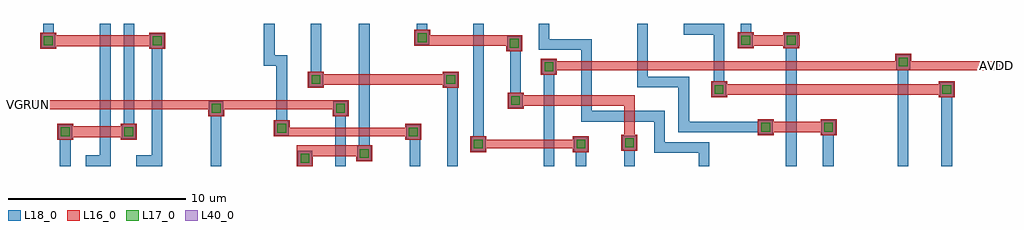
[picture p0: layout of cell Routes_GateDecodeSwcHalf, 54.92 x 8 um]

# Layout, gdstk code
import gdstk
lib = gdstk.Library(unit=1e-6, precision=1e-09)
def R(c, l, rs):  # rectangles x0, y0, x1, y1
    for r in rs: c.add(gdstk.rectangle(r[:2], r[2:], *l))
L16_0 = (16, 0)
L17_0 = (17, 0)
L18_0 = (18, 0)
L40_0 = (40, 0)

m2_m1_cdns_760358723070 = lib.new_cell('M2_M1_CDNS_760358723070')
R(m2_m1_cdns_760358723070, L16_0, [(-0.45,-0.45,0.45,0.45)])
R(m2_m1_cdns_760358723070, L17_0, [(-0.25,-0.25,0.25,0.25)])
R(m2_m1_cdns_760358723070, L18_0, [(-0.4,-0.4,0.4,0.4)])

routes_gatedecodeswchalf = lib.new_cell('Routes_GateDecodeSwcHalf')
R(routes_gatedecodeswchalf, L18_0, [(15.41,0,16.21,0.05), (15.41,0,16.21,0.05)])
R(routes_gatedecodeswchalf, L40_0, [(0,3.2,0.43,3.7), (54.55,5.4,54.92,5.9)])
routes_gatedecodeswchalf.add(gdstk.FlexPath([(54.92,5.65),(29.29,5.65)], 0.5, ends="flush", simple_path=True, layer=16, datatype=0))  # L16_0
routes_gatedecodeswchalf.add(gdstk.FlexPath([(0,3.45),(17.94,3.45)], 0.5, ends="flush", simple_path=True, layer=16, datatype=0))  # L16_0
routes_gatedecodeswchalf.add(gdstk.FlexPath([(41.74,2.19),(45.25,2.19)], 0.6, ends="flush", simple_path=True, layer=16, datatype=0))  # L16_0
routes_gatedecodeswchalf.add(gdstk.FlexPath([(34.07,3.69),(27.66,3.69)], 0.6, ends=(0.3, 0), simple_path=True, layer=16, datatype=0))  # L16_0
routes_gatedecodeswchalf.add(gdstk.FlexPath([(19.15,0.86),(15.36,0.86)], 0.6, ends="flush", simple_path=True, layer=16, datatype=0))  # L16_0
routes_gatedecodeswchalf.add(gdstk.FlexPath([(16.43,4.87),(23.97,4.87)], 0.6, ends="flush", simple_path=True, layer=16, datatype=0))  # L16_0
routes_gatedecodeswchalf.add(gdstk.FlexPath([(1.37,7.05),(7.49,7.05)], 0.6, ends="flush", simple_path=True, layer=16, datatype=0))  # L16_0
routes_gatedecodeswchalf.add(gdstk.FlexPath([(5.9,1.93),(2.02,1.93)], 0.6, ends="flush", simple_path=True, layer=16, datatype=0))  # L16_0
routes_gatedecodeswchalf.add(gdstk.FlexPath([(14.5,1.92),(22.16,1.92)], 0.5, ends=(0.45, 0), simple_path=True, layer=16, datatype=0))  # L16_0
routes_gatedecodeswchalf.add(gdstk.FlexPath([(14.5,2.12),(14.5,1.92)], 0.9, ends=(0, 0.25), simple_path=True, layer=16, datatype=0))  # L16_0
routes_gatedecodeswchalf.add(gdstk.FlexPath([(22.4,7.06),(27.58,7.06)], 0.6, ends="flush", simple_path=True, layer=16, datatype=0))  # L16_0
routes_gatedecodeswchalf.add(gdstk.FlexPath([(25.57,1.24),(31.34,1.24)], 0.5, ends="flush", simple_path=True, layer=16, datatype=0))  # L16_0
routes_gatedecodeswchalf.add(gdstk.FlexPath([(40.62,7.07),(43.64,7.07)], 0.6, ends="flush", simple_path=True, layer=16, datatype=0))  # L16_0
routes_gatedecodeswchalf.add(gdstk.FlexPath([(34.07,1.31),(34.07,3.69)], 0.6, ends=(0, 0.3), simple_path=True, layer=16, datatype=0))  # L16_0
routes_gatedecodeswchalf.add(gdstk.FlexPath([(38.9,4.31),(51.93,4.31)], 0.6, ends="flush", simple_path=True, layer=16, datatype=0))  # L16_0
routes_gatedecodeswchalf.add(gdstk.FlexPath([(17.81,0),(17.81,3.45)], 0.6, ends="flush", simple_path=True, layer=18, datatype=0))  # L18_0
routes_gatedecodeswchalf.add(gdstk.FlexPath([(10.81,0),(10.81,3.45)], 0.6, ends="flush", simple_path=True, layer=18, datatype=0))  # L18_0
routes_gatedecodeswchalf.add(gdstk.FlexPath([(29.54,5.84),(29.54,0)], 0.6, ends="flush", simple_path=True, layer=18, datatype=0))  # L18_0
routes_gatedecodeswchalf.add(gdstk.FlexPath([(49.46,0),(49.46,5.83)], 0.6, ends="flush", simple_path=True, layer=18, datatype=0))  # L18_0
routes_gatedecodeswchalf.add(gdstk.FlexPath([(14.5,5.94),(14.5,2.11)], 0.6, ends=(0.3, 0), simple_path=True, layer=18, datatype=0))  # L18_0
routes_gatedecodeswchalf.add(gdstk.FlexPath([(13.8,5.94),(14.5,5.94)], 0.6, ends="extended", simple_path=True, layer=18, datatype=0))  # L18_0
routes_gatedecodeswchalf.add(gdstk.FlexPath([(16.43,8),(16.43,4.96)], 0.6, ends="flush", simple_path=True, layer=18, datatype=0))  # L18_0
routes_gatedecodeswchalf.add(gdstk.FlexPath([(19.15,8),(19.15,0.56)], 0.6, ends="flush", simple_path=True, layer=18, datatype=0))  # L18_0
routes_gatedecodeswchalf.add(gdstk.FlexPath([(22.01,1.92),(22.01,0)], 0.6, ends="flush", simple_path=True, layer=18, datatype=0))  # L18_0
routes_gatedecodeswchalf.add(gdstk.FlexPath([(24.11,5.26),(24.11,0)], 0.6, ends="flush", simple_path=True, layer=18, datatype=0))  # L18_0
routes_gatedecodeswchalf.add(gdstk.FlexPath([(45.26,2.19),(45.26,0)], 0.6, ends="flush", simple_path=True, layer=18, datatype=0))  # L18_0
routes_gatedecodeswchalf.add(gdstk.FlexPath([(37.12,2.19),(41.74,2.19)], 0.6, ends=(0.3, 0), simple_path=True, layer=18, datatype=0))  # L18_0
routes_gatedecodeswchalf.add(gdstk.FlexPath([(37.12,4.74),(37.12,2.19)], 0.6, ends="extended", simple_path=True, layer=18, datatype=0))  # L18_0
routes_gatedecodeswchalf.add(gdstk.FlexPath([(29.27,8),(29.27,6.84)], 0.6, ends=(0, 0.3), simple_path=True, layer=18, datatype=0))  # L18_0
routes_gatedecodeswchalf.add(gdstk.FlexPath([(35.76,2.8),(35.76,1.04)], 0.6, ends="extended", simple_path=True, layer=18, datatype=0))  # L18_0
routes_gatedecodeswchalf.add(gdstk.FlexPath([(4.57,8),(4.57,0.3)], 0.6, ends=(0, 0.3), simple_path=True, layer=18, datatype=0))  # L18_0
routes_gatedecodeswchalf.add(gdstk.FlexPath([(5.9,8),(5.9,2.33)], 0.6, ends="flush", simple_path=True, layer=18, datatype=0))  # L18_0
routes_gatedecodeswchalf.add(gdstk.FlexPath([(2.32,2.33),(2.32,0)], 0.6, ends="flush", simple_path=True, layer=18, datatype=0))  # L18_0
routes_gatedecodeswchalf.add(gdstk.FlexPath([(34.07,0),(34.07,1.31)], 0.6, ends="flush", simple_path=True, layer=18, datatype=0))  # L18_0
routes_gatedecodeswchalf.add(gdstk.FlexPath([(4.57,0.3),(3.47,0.3)], 0.6, ends=(0.3, 0), simple_path=True, layer=18, datatype=0))  # L18_0
routes_gatedecodeswchalf.add(gdstk.FlexPath([(13.8,8),(13.8,5.94)], 0.6, ends=(0, 0.3), simple_path=True, layer=18, datatype=0))  # L18_0
routes_gatedecodeswchalf.add(gdstk.FlexPath([(34.8,8),(34.8,4.74)], 0.6, ends=(0, 0.3), simple_path=True, layer=18, datatype=0))  # L18_0
routes_gatedecodeswchalf.add(gdstk.FlexPath([(34.8,4.74),(37.12,4.74)], 0.6, ends="extended", simple_path=True, layer=18, datatype=0))  # L18_0
routes_gatedecodeswchalf.add(gdstk.FlexPath([(1.37,8),(1.37,6.66)], 0.6, ends="flush", simple_path=True, layer=18, datatype=0))  # L18_0
routes_gatedecodeswchalf.add(gdstk.FlexPath([(7.49,7.05),(7.49,0.3)], 0.6, ends=(0, 0.3), simple_path=True, layer=18, datatype=0))  # L18_0
routes_gatedecodeswchalf.add(gdstk.FlexPath([(7.49,0.3),(6.31,0.3)], 0.6, ends=(0.3, 0), simple_path=True, layer=18, datatype=0))  # L18_0
routes_gatedecodeswchalf.add(gdstk.FlexPath([(22.4,8),(22.4,6.82)], 0.6, ends="flush", simple_path=True, layer=18, datatype=0))  # L18_0
routes_gatedecodeswchalf.add(gdstk.FlexPath([(25.57,8),(25.57,1.24)], 0.6, ends="flush", simple_path=True, layer=18, datatype=0))  # L18_0
routes_gatedecodeswchalf.add(gdstk.FlexPath([(31.34,1.24),(31.34,0)], 0.6, ends="flush", simple_path=True, layer=18, datatype=0))  # L18_0
routes_gatedecodeswchalf.add(gdstk.FlexPath([(29.27,6.84),(31.65,6.84)], 0.6, ends="extended", simple_path=True, layer=18, datatype=0))  # L18_0
routes_gatedecodeswchalf.add(gdstk.FlexPath([(35.76,1.04),(38.26,1.04)], 0.6, ends="extended", simple_path=True, layer=18, datatype=0))  # L18_0
routes_gatedecodeswchalf.add(gdstk.FlexPath([(40.62,8),(40.62,7.07)], 0.6, ends="flush", simple_path=True, layer=18, datatype=0))  # L18_0
routes_gatedecodeswchalf.add(gdstk.FlexPath([(43.17,7.07),(43.17,0)], 0.6, ends="flush", simple_path=True, layer=18, datatype=0))  # L18_0
routes_gatedecodeswchalf.add(gdstk.FlexPath([(37.13,7.7),(39.11,7.7)], 0.6, ends=(0, 0.3), simple_path=True, layer=18, datatype=0))  # L18_0
routes_gatedecodeswchalf.add(gdstk.FlexPath([(27.66,6.91),(27.58,6.91)], 0.6, ends=(0.3, 0), simple_path=True, layer=18, datatype=0))  # L18_0
routes_gatedecodeswchalf.add(gdstk.FlexPath([(27.66,3.69),(27.66,6.91)], 0.6, ends=(0, 0.3), simple_path=True, layer=18, datatype=0))  # L18_0
routes_gatedecodeswchalf.add(gdstk.FlexPath([(31.65,6.84),(31.65,2.8)], 0.6, ends="extended", simple_path=True, layer=18, datatype=0))  # L18_0
routes_gatedecodeswchalf.add(gdstk.FlexPath([(31.65,2.8),(35.76,2.8)], 0.6, ends="extended", simple_path=True, layer=18, datatype=0))  # L18_0
routes_gatedecodeswchalf.add(gdstk.FlexPath([(38.26,1.04),(38.26,0)], 0.6, ends=(0.3, 0), simple_path=True, layer=18, datatype=0))  # L18_0
routes_gatedecodeswchalf.add(gdstk.FlexPath([(39.11,7.7),(39.11,4.36)], 0.6, ends=(0.3, 0), simple_path=True, layer=18, datatype=0))  # L18_0
routes_gatedecodeswchalf.add(gdstk.FlexPath([(51.92,4.5),(51.92,0)], 0.6, ends="flush", simple_path=True, layer=18, datatype=0))  # L18_0
routes_gatedecodeswchalf.add(gdstk.Reference(m2_m1_cdns_760358723070, (51.93,4.31)))
routes_gatedecodeswchalf.add(gdstk.Reference(m2_m1_cdns_760358723070, (39.11,4.31)))
routes_gatedecodeswchalf.add(gdstk.Reference(m2_m1_cdns_760358723070, (21.91,1.92)))
routes_gatedecodeswchalf.add(gdstk.Reference(m2_m1_cdns_760358723070, (49.47,5.86)))
routes_gatedecodeswchalf.add(gdstk.Reference(m2_m1_cdns_760358723070, (43.17,7.07)))
routes_gatedecodeswchalf.add(gdstk.Reference(m2_m1_cdns_760358723070, (40.62,7.07)))
routes_gatedecodeswchalf.add(gdstk.Reference(m2_m1_cdns_760358723070, (41.74,2.19)))
routes_gatedecodeswchalf.add(gdstk.Reference(m2_m1_cdns_760358723070, (31.34,1.24)))
routes_gatedecodeswchalf.add(gdstk.Reference(m2_m1_cdns_760358723070, (25.57,1.24)))
routes_gatedecodeswchalf.add(gdstk.Reference(m2_m1_cdns_760358723070, (29.54,5.59)))
routes_gatedecodeswchalf.add(gdstk.Reference(m2_m1_cdns_760358723070, (22.4,7.22)))
routes_gatedecodeswchalf.add(gdstk.Reference(m2_m1_cdns_760358723070, (19.15,0.71)))
routes_gatedecodeswchalf.add(gdstk.Reference(m2_m1_cdns_760358723070, (16.43,4.87)))
routes_gatedecodeswchalf.add(gdstk.Reference(m2_m1_cdns_760358723070, (15.81,0.45)))
routes_gatedecodeswchalf.add(gdstk.Reference(m2_m1_cdns_760358723070, (14.5,2.12)))
routes_gatedecodeswchalf.add(gdstk.Reference(m2_m1_cdns_760358723070, (45.27,2.19)))
routes_gatedecodeswchalf.add(gdstk.Reference(m2_m1_cdns_760358723070, (17.81,3.25)))
routes_gatedecodeswchalf.add(gdstk.Reference(m2_m1_cdns_760358723070, (24.01,4.87)))
routes_gatedecodeswchalf.add(gdstk.Reference(m2_m1_cdns_760358723070, (5.9,1.93)))
routes_gatedecodeswchalf.add(gdstk.Reference(m2_m1_cdns_760358723070, (7.49,7.05)))
routes_gatedecodeswchalf.add(gdstk.Reference(m2_m1_cdns_760358723070, (10.81,3.25)))
routes_gatedecodeswchalf.add(gdstk.Reference(m2_m1_cdns_760358723070, (2.32,1.93)))
routes_gatedecodeswchalf.add(gdstk.Reference(m2_m1_cdns_760358723070, (1.37,7.05)))
routes_gatedecodeswchalf.add(gdstk.Reference(m2_m1_cdns_760358723070, (34.07,1.31)))
routes_gatedecodeswchalf.add(gdstk.Reference(m2_m1_cdns_760358723070, (27.58,6.91)))
routes_gatedecodeswchalf.add(gdstk.Reference(m2_m1_cdns_760358723070, (27.66,3.69)))
routes_gatedecodeswchalf.add(gdstk.Reference(m2_m1_cdns_760358723070, (25.57,1.24)))
routes_gatedecodeswchalf.add(gdstk.Label('VGRUN', (0.25,3.45), layer=40, texttype=0))
routes_gatedecodeswchalf.add(gdstk.Label('AVDD', (54.74,5.65), layer=40, texttype=0))

lib.write_gds('Routes_GateDecodeSwcHalf.gds')
